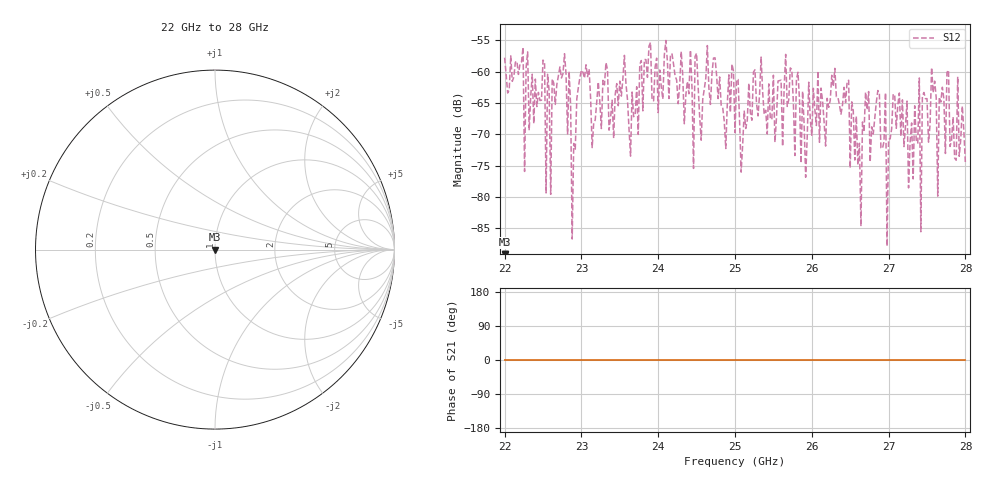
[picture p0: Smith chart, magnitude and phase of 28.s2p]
#  HZ  S  RI  R  50.00
! Rohde & Schwarz ZVA40 4Ports - Version 3.90 - 1145.1110k42 SN: 100403
! Date: 2023-10-04 08:02:35
! Measurements: S11 S21 S12 S22
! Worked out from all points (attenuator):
!   301 points, 22 GHz to 28 GHz, reference 50 ohm
!   highest |S21| = - dB at 22 GHz (marker M1); lowest = - dB at 22 GHz (marker M2)
!   lowest |S11| = - dB at 22 GHz (marker M3), VSWR 1.00, Z = 50 + j0 ohm
!   |S11| at or under -10 dB: start of sweep to end of sweep
!   |S22| runs from - to - dB; largest |S21 - S12| = 0.0018
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2.2e10  0 0  0 0  -0.000527 -0.00118  0 0
2.224e10  0 0  0 0  -0.0011 0.00111  0 0
2.226e10  0 0  0 0  0.00012 -0.000106  0 0
2.23e10  0 0  0 0  -0.00142 -0.000251  0 0
2.252e10  0 0  0 0  -0.000636 -0.001  0 0
2.254e10  0 0  0 0  0.000103 -3.13e-05  0 0
2.256e10  0 0  0 0  0.000596 -0.000744  0 0
2.26e10  0 0  0 0  4.53e-05 9.5e-05  0 0
2.262e10  0 0  0 0  0.000863 0.00016  0 0
2.284e10  0 0  0 0  0.000231 0.00098  0 0
2.288e10  0 0  0 0  2.83e-05 -3.67e-05  0 0
2.3e10  0 0  0 0  0.000972 -0.000335  0 0
2.4e10  0 0  0 0  -0.000375 -0.000286  0 0
2.5e10  0 0  0 0  -0.000267 0.000189  0 0
2.6e10  0 0  0 0  -0.000299 -8.79e-05  0 0
2.7e10  0 0  0 0  0.000172 -0.000234  0 0
2.74e10  0 0  0 0  0.000774 -0.000442  0 0
2.742e10  0 0  0 0  9.47e-06 -5.21e-05  0 0
2.756e10  0 0  0 0  0.000511 -0.00095  0 0
2.764e10  0 0  0 0  0.000102 5.49e-06  0 0
2.778e10  0 0  0 0  7.6e-05 -0.00103  0 0
2.8e10  0 0  0 0  -0.000109 0.000151  0 0
